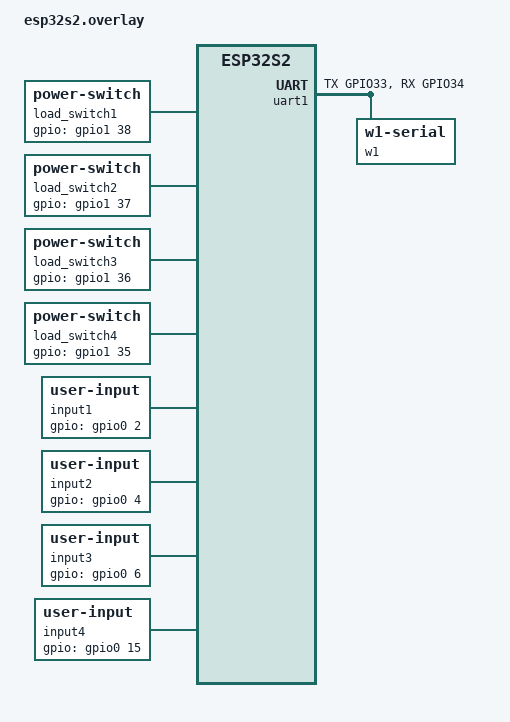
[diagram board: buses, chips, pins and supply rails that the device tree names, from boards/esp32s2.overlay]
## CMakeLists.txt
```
# SPDX-License-Identifier: Apache-2.0

cmake_minimum_required(VERSION 3.20.0)
find_package(Zephyr REQUIRED HINTS $ENV{ZEPHYR_BASE})
project(button)

# target_sources(app PRIVATE src/main.c)
FILE(GLOB app_sources src/*.c)
target_sources(app PRIVATE ${app_sources})
```

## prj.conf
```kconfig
CONFIG_GPIO=y

# CONFIG_SENSOR=y
# CONFIG_W1=y

# CONFIG_LOG=y
# CONFIG_SENSOR_LOG_LEVEL_DBG=y
```

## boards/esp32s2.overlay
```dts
#include <zephyr/dt-bindings/gpio/gpio.h>
#include <dt-bindings/pinctrl/esp32s2-pinctrl.h>
#include <zephyr/dt-bindings/pinctrl/esp-pinctrl-common.h>
#include <zephyr/dt-bindings/pinctrl/esp32s2-gpio-sigmap.h>
#include <zephyr/dt-bindings/input/input-event-codes.h>


/ {
    aliases {
        switch1 = &load_switch1;
        switch2 = &load_switch2;
        switch3 = &load_switch3;
        switch4 = &load_switch4;
        input1 = &input1;
        input2 = &input2;
        input3 = &input3;
        input4 = &input4;
    };

    load_switch1: load_switch1 {
        compatible = "power-switch";
        gpios = <&gpio1 38 (GPIO_ACTIVE_HIGH | GPIO_PULL_DOWN)>;
    };

    load_switch2: load_switch2 {
        compatible = "power-switch";
        gpios = <&gpio1 37 (GPIO_ACTIVE_HIGH | GPIO_PULL_DOWN)>;
    };

    load_switch3: load_switch3 {
        compatible = "power-switch";
        gpios = <&gpio1 36 (GPIO_ACTIVE_HIGH | GPIO_PULL_DOWN)>;
    };

    load_switch4: load_switch4 {
        compatible = "power-switch";
        gpios = <&gpio1 35 (GPIO_ACTIVE_HIGH | GPIO_PULL_DOWN)>;
    };

    input1: input1 {
        compatible = "user-input";
        gpios = <&gpio0 2 (GPIO_ACTIVE_HIGH | GPIO_PULL_DOWN)>;
    };

    input2: input2 {
        compatible = "user-input";
        gpios = <&gpio0 4 (GPIO_ACTIVE_HIGH | GPIO_PULL_DOWN)>;
    };

    input3: input3 {
        compatible = "user-input";
        gpios = <&gpio0 6 (GPIO_ACTIVE_HIGH | GPIO_PULL_DOWN)>;
    };

    input4: input4 {
        compatible = "user-input";
        gpios = <&gpio0 15 (GPIO_ACTIVE_HIGH | GPIO_PULL_DOWN)>;
    };

};

&pinctrl {

    uart1_default: uart1_default {
        group1 {
            pinmux = <UART1_TX_GPIO33>;
            output-high;
        };
        group2 {
            pinmux = <UART1_RX_GPIO34>;
            bias-pull-up;
        };
    };

};

&uart1 {
    status = "okay";
    pinctrl-0 = < &uart1_default >;
    pinctrl-names = "default";

    w1: w1 {
		compatible = "zephyr,w1-serial";
		#address-cells = <1>;
		#size-cells = <0>;
		status = "okay";

		ds18b20 {
			compatible = "maxim,ds18b20";
			family-code = <0x28>;
			resolution = <12>;
			status = "okay";
		};
    };
};

&wifi {
    status = "disabled";
};
```

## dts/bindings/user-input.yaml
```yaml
description: GPIO input for user buttons, used to switch on and off stuff

compatible: "user-input"

properties:
  gpios:
    type: phandle-array
    required: true
    description: |
      The GPIO connected to the mechanical switch.
```

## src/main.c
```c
/*
 * SPDX-License-Identifier: Apache-2.0
 */

#include <zephyr/kernel.h>
#include <zephyr/device.h>
#include <zephyr/drivers/gpio.h>
#include <zephyr/sys/util.h>
#include <zephyr/sys/printk.h>
#include <inttypes.h>

#include "button.h"

#define SLEEP_TIME_MS	1

#if !DT_NODE_HAS_STATUS_OKAY(DT_ALIAS(led0))
#error "Overlay for led node not properly defined."
#endif

#if !DT_NODE_EXISTS(DT_NODELABEL(load_switch1))
#error "Overlay for power output node not properly defined."
#endif

#if !DT_NODE_EXISTS(DT_NODELABEL(load_switch2))
#error "Overlay for power output node not properly defined."
#endif

#if !DT_NODE_EXISTS(DT_NODELABEL(load_switch3))
#error "Overlay for power output node not properly defined."
#endif

#if !DT_NODE_EXISTS(DT_NODELABEL(load_switch4))
#error "Overlay for power output node not properly defined."
#endif

static char *helper_button_evt_str(enum button_evt evt)
{
	switch (evt) {
	case BUTTON_EVT_PRESSED:
		return "Pressed";
	case BUTTON_EVT_RELEASED:
		return "Released";
	default:
		return "Unknown";
	}
}

static void button_event_handler(enum button_evt evt)
{
	// printk("Button event: %s\n", helper_button_evt_str(evt));
}

void main(void)
{
	int err = -1;

	err = button_init(button_event_handler);
	if (err) {
		return;
	}

}
```

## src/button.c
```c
#include <zephyr/kernel.h>
#include <zephyr/drivers/gpio.h>
#include "button.h"

int input_no;

static button_event_handler_t user_cb;

static void cooldown_expired(struct k_work *work, uint32_t pins)
{
    ARG_UNUSED(work);

    gpio_pin_toggle_dt(&led);
    
    if (input_no == 1)
    {
        gpio_pin_toggle_dt(&switch_1);
    }
    if (input_no == 2)
    {
        gpio_pin_toggle_dt(&switch_2);
    }
    if (input_no == 3)
    {
        gpio_pin_toggle_dt(&switch_3);
    }
    if (input_no == 4)
    {
        gpio_pin_toggle_dt(&switch_4);
    }
    
    // int val = gpio_pin_get_dt(&input_1);
    // enum button_evt evt = val ? BUTTON_EVT_PRESSED : BUTTON_EVT_RELEASED;
    // if (user_cb) {
    //     user_cb(evt);
    // }

}

static K_WORK_DELAYABLE_DEFINE(cooldown_work, cooldown_expired);

void button_pressed(const struct device *dev, struct gpio_callback *cb,
		    uint32_t pins)
{
    input_no = 0;

    // Check which input triggered the interrupt
    if (pins & BIT(input_1.pin)) {
        input_no = 1;
        // gpio_pin_toggle_dt(&switch_1);
    }
    else if (pins & BIT(input_2.pin)) {
        input_no = 2;
        // gpio_pin_toggle_dt(&switch_2);
    }
    else if (pins & BIT(input_3.pin)) {
        input_no = 3;
        // gpio_pin_toggle_dt(&switch_3);
    }
    else if (pins & BIT(input_4.pin)) {
        input_no = 4;
        // gpio_pin_toggle_dt(&switch_4);
    }

    k_work_reschedule(&cooldown_work, K_MSEC(50));
}

int button_init(button_event_handler_t handler)
{
    int err = -1;

    if (!handler) {
        return -EINVAL;
    }

    user_cb = handler;

	if (!device_is_ready(input_1.port)) {
		return -EIO;
	}

	err = gpio_pin_configure_dt(&input_1, GPIO_INPUT);
	if (err) {
        return err;
	}
	err = gpio_pin_configure_dt(&input_2, GPIO_INPUT);
	if (err) {
        return err;
	}
    err = gpio_pin_configure_dt(&input_3, GPIO_INPUT);
	if (err) {
        return err;
	}
    err = gpio_pin_configure_dt(&input_4, GPIO_INPUT);
	if (err) {
        return err;
	}

	err = gpio_pin_interrupt_configure_dt(&input_1, GPIO_INT_LEVEL_HIGH);
	if (err) {
		return err;
	}
    err = gpio_pin_interrupt_configure_dt(&input_2, GPIO_INT_LEVEL_HIGH);
	if (err) {
		return err;
	}
    err = gpio_pin_interrupt_configure_dt(&input_3, GPIO_INT_LEVEL_HIGH);
	if (err) {
		return err;
	}
    err = gpio_pin_interrupt_configure_dt(&input_4, GPIO_INT_LEVEL_HIGH);
	if (err) {
		return err;
	}

	gpio_init_callback(&input1_cb_data, button_pressed, BIT(input_1.pin));
	err = gpio_add_callback(input_1.port, &input1_cb_data);
    if (err) {
        return err;
    }
    gpio_init_callback(&input2_cb_data, button_pressed, BIT(input_2.pin));
	err = gpio_add_callback(input_2.port, &input2_cb_data);
    if (err) {
        return err;
    }
    gpio_init_callback(&input3_cb_data, button_pressed, BIT(input_3.pin));
	err = gpio_add_callback(input_3.port, &input3_cb_data);
    if (err) {
        return err;
    }
    gpio_init_callback(&input4_cb_data, button_pressed, BIT(input_4.pin));
	err = gpio_add_callback(input_4.port, &input4_cb_data);
    if (err) {
        return err;
    }

    err = gpio_pin_configure_dt(&led, GPIO_OUTPUT);

    if (!gpio_is_ready_dt(&switch_1))
	{
		// printk("Error: switch_1 device %s is not ready\n", switch_1.port->name);
		return 0;
	}
    err = gpio_pin_configure_dt(&switch_1, (GPIO_OUTPUT_LOW | GPIO_PULL_DOWN));
	if (err != 0) {
		// printk("Error %d: failed to configure %s pin %d\n",
		//        err, switch_1.port->name, switch_1.pin);
		return 0;
	}
    err = gpio_pin_configure_dt(&switch_2, (GPIO_OUTPUT_LOW | GPIO_PULL_DOWN));
	if (err != 0) {
		return 0;
	}
    err = gpio_pin_configure_dt(&switch_3, (GPIO_OUTPUT_LOW | GPIO_PULL_DOWN));
	if (err != 0) {
		return 0;
	}
    err = gpio_pin_configure_dt(&switch_4, (GPIO_OUTPUT_LOW | GPIO_PULL_DOWN));
	if (err != 0) {
		return 0;
	}

    return 0;
}
```

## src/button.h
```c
#ifndef _BUTTON_H_
#define _BUTTON_H_

enum button_evt {
    BUTTON_EVT_PRESSED,
    BUTTON_EVT_RELEASED
};

typedef void (*button_event_handler_t)(enum button_evt evt);

int button_init(button_event_handler_t handler);

static struct gpio_dt_spec led = GPIO_DT_SPEC_GET_OR(DT_ALIAS(led0), gpios, {0});

static const struct gpio_dt_spec input_1 = GPIO_DT_SPEC_GET(DT_ALIAS(input1), gpios);
static const struct gpio_dt_spec input_2 = GPIO_DT_SPEC_GET(DT_ALIAS(input2), gpios);
static const struct gpio_dt_spec input_3 = GPIO_DT_SPEC_GET(DT_ALIAS(input3), gpios);
static const struct gpio_dt_spec input_4 = GPIO_DT_SPEC_GET(DT_ALIAS(input4), gpios);

/**
 * @brief	These switches are the gpio connected to the isolated MOSFET driver
 * 			IC's gate pin. Each IC has two input and two outputs to drive the GATE	of the
 * 			connected MOSFET.
 */
static const struct gpio_dt_spec switch_1 = GPIO_DT_SPEC_GET(DT_ALIAS(switch1), gpios);
static const struct gpio_dt_spec switch_2 = GPIO_DT_SPEC_GET(DT_ALIAS(switch2), gpios);
static const struct gpio_dt_spec switch_3 = GPIO_DT_SPEC_GET(DT_ALIAS(switch3), gpios);
static const struct gpio_dt_spec switch_4 = GPIO_DT_SPEC_GET(DT_ALIAS(switch4), gpios);

static struct gpio_callback input1_cb_data;
static struct gpio_callback input2_cb_data;
static struct gpio_callback input3_cb_data;
static struct gpio_callback input4_cb_data;

#endif /* _BUTTON_H_ */
```
